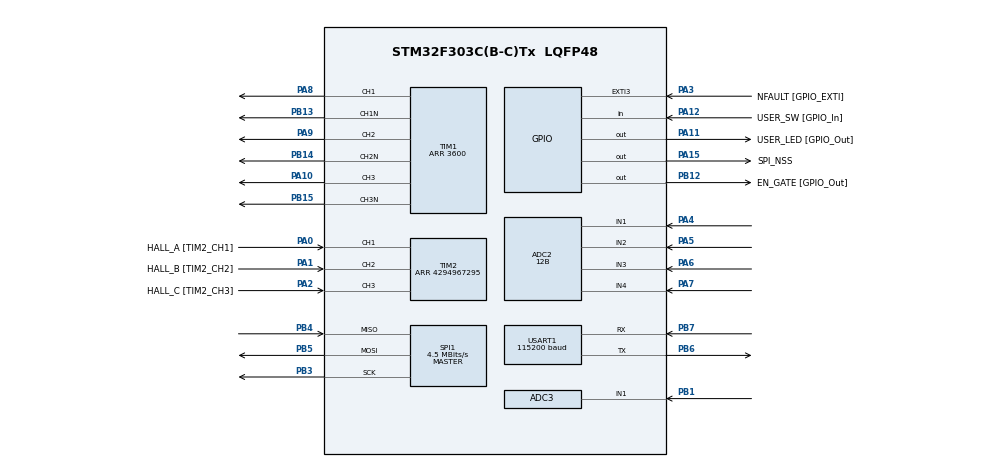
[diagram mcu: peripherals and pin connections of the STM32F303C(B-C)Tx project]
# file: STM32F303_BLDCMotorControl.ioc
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ADC2.ClockPrescaler=ADC_CLOCK_SYNC_PCLK_DIV1
ADC2.ContinuousConvMode=DISABLE
ADC2.DMAContinuousRequests=DISABLE
ADC2.DataAlign=ADC_DATAALIGN_RIGHT
ADC2.DiscontinuousConvMode=DISABLE
ADC2.EOCSelection=ADC_EOC_SEQ_CONV
ADC2.EnableAnalogWatchDog1=false
ADC2.EnableAnalogWatchDog2=false
ADC2.EnableAnalogWatchDog3=false
ADC2.EnableInjectedConversion=ENABLE
ADC2.EnableRegularConversion=DISABLE
ADC2.ExternalTrigInjecConv=ADC_EXTERNALTRIGINJECCONV_T1_TRGO2
ADC2.ExternalTrigInjecConvEdge=ADC_EXTERNALTRIGINJECCONV_EDGE_RISING
ADC2.InjNumberOfConversion=4
ADC2.InjectedChannel-1\#ChannelInjectedConversion=ADC_CHANNEL_1
ADC2.InjectedChannel-2\#ChannelInjectedConversion=ADC_CHANNEL_2
ADC2.InjectedChannel-3\#ChannelInjectedConversion=ADC_CHANNEL_3
ADC2.InjectedChannel-6\#ChannelInjectedConversion=ADC_CHANNEL_4
ADC2.InjectedConvMode=None
ADC2.InjectedOffset-1\#ChannelInjectedConversion=0
ADC2.InjectedOffset-2\#ChannelInjectedConversion=0
ADC2.InjectedOffset-3\#ChannelInjectedConversion=0
ADC2.InjectedOffset-6\#ChannelInjectedConversion=0
ADC2.InjectedOffsetNumber-1\#ChannelInjectedConversion=ADC_OFFSET_NONE
ADC2.InjectedOffsetNumber-2\#ChannelInjectedConversion=ADC_OFFSET_NONE
ADC2.InjectedOffsetNumber-3\#ChannelInjectedConversion=ADC_OFFSET_NONE
ADC2.InjectedOffsetNumber-6\#ChannelInjectedConversion=ADC_OFFSET_NONE
ADC2.InjectedRank-1\#ChannelInjectedConversion=1
ADC2.InjectedRank-2\#ChannelInjectedConversion=2
ADC2.InjectedRank-3\#ChannelInjectedConversion=3
ADC2.InjectedRank-6\#ChannelInjectedConversion=4
ADC2.InjectedSamplingTime-1\#ChannelInjectedConversion=ADC_SAMPLETIME_7CYCLES_5
ADC2.InjectedSamplingTime-2\#ChannelInjectedConversion=ADC_SAMPLETIME_7CYCLES_5
ADC2.InjectedSamplingTime-3\#ChannelInjectedConversion=ADC_SAMPLETIME_7CYCLES_5
ADC2.InjectedSamplingTime-6\#ChannelInjectedConversion=ADC_SAMPLETIME_7CYCLES_5
ADC2.LowPowerAutoWait=DISABLE
ADC2.Overrun=ADC_OVR_DATA_OVERWRITTEN
ADC2.QueueInjectedContext=DISABLE
ADC2.Resolution=ADC_RESOLUTION_12B
ADC2.ScanConvMode=ADC_SCAN_ENABLE
ADC3.Channel-0\#ChannelRegularConversion=ADC_CHANNEL_1
ADC3.ClockPrescaler=ADC_CLOCK_ASYNC_DIV1
ADC3.ContinuousConvMode=DISABLE
ADC3.DMAContinuousRequests=DISABLE
ADC3.DataAlign=ADC_DATAALIGN_RIGHT
ADC3.DiscontinuousConvMode=DISABLE
ADC3.EOCSelection=ADC_EOC_SEQ_CONV
ADC3.EnableAnalogWatchDog1=false
ADC3.EnableAnalogWatchDog2=false
ADC3.EnableAnalogWatchDog3=false
ADC3.EnableInjectedConversion=DISABLE
ADC3.EnableRegularConversion=ENABLE
ADC3.ExternalTrigConv=ADC_SOFTWARE_START
ADC3.ExternalTrigConvEdge=ADC_EXTERNALTRIGCONVEDGE_NONE
ADC3.LowPowerAutoWait=DISABLE
ADC3.NbrOfConversion=1
ADC3.NbrOfConversionFlag=1
ADC3.Offset-0\#ChannelRegularConversion=0
ADC3.OffsetNumber-0\#ChannelRegularConversion=ADC_OFFSET_NONE
ADC3.Overrun=ADC_OVR_DATA_OVERWRITTEN
ADC3.Rank-0\#ChannelRegularConversion=1
ADC3.Resolution=ADC_RESOLUTION_12B
ADC3.SamplingTime-0\#ChannelRegularConversion=ADC_SAMPLETIME_7CYCLES_5
ADC3.ScanConvMode=ADC_SCAN_DISABLE
ADC3.master=1
Mcu.Family=STM32F3
Mcu.Name=STM32F303C(B-C)Tx
Mcu.Package=LQFP48
NVIC.ADC1_2_IRQn=true\:0\:0\:false\:false\:true\:true\:true
NVIC.ADC3_IRQn=true\:2\:0\:true\:false\:true\:true\:true
NVIC.EXTI3_IRQn=true\:4\:0\:true\:false\:true\:true\:true
NVIC.PriorityGroup=NVIC_PRIORITYGROUP_4
NVIC.TIM1_UP_TIM16_IRQn=true\:1\:0\:true\:false\:true\:true\:true
NVIC.TIM2_IRQn=true\:3\:0\:true\:false\:true\:true\:true
PA0.GPIO_Label=HALL_A [TIM2_CH1]
PA0.Signal=S_TIM2_CH1_ETR
PA1.GPIO_Label=HALL_B [TIM2_CH2]
PA1.Signal=S_TIM2_CH2
PA10.GPIO_Speed=GPIO_SPEED_FREQ_HIGH
PA10.Signal=S_TIM1_CH3
PA11.GPIO_Label=USER_LED [GPIO_Out]
PA11.Signal=GPIO_Output
PA12.GPIO_Label=USER_SW [GPIO_In]
PA12.Signal=GPIO_Input
PA13.Mode=Serial_Wire
PA13.Signal=SYS_JTMS-SWDIO
PA14.Mode=Serial_Wire
PA14.Signal=SYS_JTCK-SWCLK
PA15.GPIO_Label=SPI_NSS
PA15.Signal=GPIO_Output
PA2.GPIO_Label=HALL_C [TIM2_CH3]
PA2.Signal=S_TIM2_CH3
PA3.GPIO_Label=NFAULT [GPIO_EXTI]
PA3.GPIO_ModeDefaultEXTI=GPIO_MODE_IT_FALLING
PA3.Signal=GPXTI3
PA4.Mode=IN1-Single-Ended
PA4.Signal=ADC2_IN1
PA5.Mode=IN2-Single-Ended
PA5.Signal=ADC2_IN2
PA6.Mode=IN3-Single-Ended
PA6.Signal=ADC2_IN3
PA7.Mode=IN4-Single-Ended
PA7.Signal=ADC2_IN4
PA8.GPIO_Speed=GPIO_SPEED_FREQ_HIGH
PA8.Signal=S_TIM1_CH1
PA9.GPIO_Speed=GPIO_SPEED_FREQ_HIGH
PA9.Signal=S_TIM1_CH2
PB1.Mode=IN1-Single-Ended
PB1.Signal=ADC3_IN1
PB12.GPIO_Label=EN_GATE [GPIO_Out]
PB12.GPIO_Speed=GPIO_SPEED_FREQ_HIGH
PB12.Signal=GPIO_Output
PB13.GPIO_Speed=GPIO_SPEED_FREQ_HIGH
PB13.Mode=PWM Generation1 CH1 CH1N
PB13.Signal=TIM1_CH1N
PB14.GPIO_Speed=GPIO_SPEED_FREQ_HIGH
PB14.Mode=PWM Generation2 CH2 CH2N
PB14.Signal=TIM1_CH2N
PB15.GPIO_Speed=GPIO_SPEED_FREQ_HIGH
PB15.Mode=PWM Generation3 CH3 CH3N
PB15.Signal=TIM1_CH3N
PB3.Mode=Full_Duplex_Master
PB3.Signal=SPI1_SCK
PB4.Mode=Full_Duplex_Master
PB4.Signal=SPI1_MISO
PB5.Mode=Full_Duplex_Master
PB5.Signal=SPI1_MOSI
PB6.Mode=Asynchronous
PB6.Signal=USART1_TX
PB7.Mode=Asynchronous
PB7.Signal=USART1_RX
PB8.Signal=CAN_RX
PB9.Signal=CAN_TX
PF0-OSC_IN.Mode=HSE-External-Oscillator
PF0-OSC_IN.Signal=RCC_OSC_IN
PF1-OSC_OUT.Mode=HSE-External-Oscillator
PF1-OSC_OUT.Signal=RCC_OSC_OUT
ProjectManager.HeapSize=0x200
ProjectManager.StackSize=0x400
ProjectManager.TargetToolchain=SW4STM32
RCC.AHBFreq_Value=72000000
RCC.APB1CLKDivider=RCC_HCLK_DIV2
RCC.APB1Freq_Value=36000000
RCC.APB1TimFreq_Value=72000000
RCC.APB2Freq_Value=72000000
RCC.APB2TimFreq_Value=72000000
RCC.CortexFreq_Value=72000000
RCC.HCLKFreq_Value=72000000
RCC.HSE_VALUE=8000000
RCC.HSI_VALUE=8000000
RCC.LSE_VALUE=32768
RCC.PLLMUL=RCC_PLL_MUL9
RCC.PLLSourceVirtual=RCC_PLLSOURCE_HSE
RCC.SYSCLKFreq_VALUE=72000000
RCC.SYSCLKSourceVirtual=RCC_SYSCLKSOURCE_PLLCLK
RCC.TIM1Selection=RCC_TIM1CLK_PLLCLK
RCC.USBFreq_Value=72000000
SH.S_TIM1_CH1.0=TIM1_CH1,PWM Generation1 CH1 CH1N
SH.S_TIM1_CH2.0=TIM1_CH2,PWM Generation2 CH2 CH2N
SH.S_TIM1_CH3.0=TIM1_CH3,PWM Generation3 CH3 CH3N
SH.S_TIM2_CH1_ETR.0=TIM2_CH1,Xored_Inputs_Hall_Sensor_Interface
SH.S_TIM2_CH2.0=TIM2_CH2,Xored_Inputs_Hall_Sensor_Interface
SH.S_TIM2_CH3.0=TIM2_CH3,Xored_Inputs_Hall_Sensor_Interface
SPI1.BaudRatePrescaler=SPI_BAUDRATEPRESCALER_16
SPI1.CLKPhase=SPI_PHASE_2EDGE
SPI1.CLKPolarity=SPI_POLARITY_LOW
SPI1.CalculateBaudRate=4.5 MBits/s
SPI1.DataSize=SPI_DATASIZE_16BIT
SPI1.Direction=SPI_DIRECTION_2LINES
SPI1.Mode=SPI_MODE_MASTER
SPI1.VirtualType=VM_MASTER
TIM1.Channel-PWM\ Generation1\ CH1\ CH1N=TIM_CHANNEL_1
TIM1.Channel-PWM\ Generation2\ CH2\ CH2N=TIM_CHANNEL_2
TIM1.Channel-PWM\ Generation3\ CH3\ CH3N=TIM_CHANNEL_3
TIM1.Channel-PWM\ Generation4\ No\ Output=TIM_CHANNEL_4
TIM1.CounterMode=TIM_COUNTERMODE_CENTERALIGNED1
TIM1.DeadTime=72
TIM1.Period=3600
TIM1.Pulse-PWM\ Generation4\ No\ Output=3599
TIM1.RepetitionCounter=0
TIM1.TIM_MasterOutputTrigger=TIM_TRGO_UPDATE
TIM1.TIM_MasterOutputTrigger2=TIM_TRGO2_OC4REF
TIM2.Period=4294967295
TIM6.Period=65535
TIM6.Prescaler=71
USART1.BaudRate=115200
USART1.VirtualMode-Asynchronous=VM_ASYNC
VP_TIM1_VS_ClockSourceINT.Mode=Internal
VP_TIM1_VS_no_output4.Mode=PWM Generation4 No Output
VP_TIM6_VS_ClockSourceINT.Mode=Enable_Timer
board=stm32f303cc_bldc_foc

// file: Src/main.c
/* USER CODE BEGIN Header */
/**
  ******************************************************************************
  * @file           : main.c
  * @brief          : Main program body
  ******************************************************************************
  * @attention
  *
  * <h2><center>&copy; Copyright (c) 2019 STMicroelectronics.
  * All rights reserved.</center></h2>
  *
  * This software component is licensed by ST under BSD 3-Clause license,
  * the "License"; You may not use this file except in compliance with the
  * License. You may obtain a copy of the License at:
  *                        opensource.org/licenses/BSD-3-Clause
  *
  ******************************************************************************
  */
/* USER CODE END Header */

#include "main.h"
#include "adc.h"
#include "spi.h"
#include "tim.h"
#include "usart.h"
#include "gpio.h"

void SystemClock_Config(void);

int main(void)
{

  /* MCU Configuration--------------------------------------------------------*/

  /* Reset of all peripherals, Initializes the Flash interface and the Systick. */

  LL_APB2_GRP1_EnableClock(LL_APB2_GRP1_PERIPH_SYSCFG);
  LL_APB1_GRP1_EnableClock(LL_APB1_GRP1_PERIPH_PWR);

  NVIC_SetPriorityGrouping(NVIC_PRIORITYGROUP_4);

  /* System interrupt init*/

  /* USER CODE BEGIN Init */

  // xprintf allocation
  xdev_out(uart1_putc);
  xdev_in(uart1_getc);

  /* USER CODE END Init */

  /* Configure the system clock */
  SystemClock_Config();

  /* Initialize all configured peripherals */
  MX_GPIO_Init();
  MX_ADC2_Init();
  MX_ADC3_Init();
  MX_SPI1_Init();
  MX_TIM1_Init();
  MX_TIM2_Init();
  MX_TIM6_Init();
  MX_USART1_UART_Init();
  /* USER CODE BEGIN 2 */

  while (LL_GPIO_IsInputPinSet(USER_SW_GPIO_Port,USER_SW_Pin));
  xprintf("Hello world!\n");

  // controller initialization
  period = LL_TIM_GetAutoReload(TIM1);

  // ADC2 Initialization
  WRITE_REG(ADC2->DIFSEL,0U); // LL_ADC_SetChannelSingleDiffが未定義動作を起こすので、レジスタに直接書き込む
  LL_ADC_EnableInternalRegulator(ADC2);
  delay_us(10);
  LL_ADC_StartCalibration(ADC2, LL_ADC_SINGLE_ENDED);
  while (LL_ADC_IsCalibrationOnGoing(ADC2));
  LL_ADC_Enable(ADC2);
  while (!LL_ADC_IsActiveFlag_ADRDY(ADC2));
  // JSQRをクリア
  LL_ADC_INJ_StopConversion(ADC2);
  while (LL_ADC_INJ_IsStopConversionOngoing(ADC2));
  // CubeMXが出力するコードが不適切なため、ADC2のJSQRを改めて設定する
  LL_ADC_DisableIT_JQOVF(ADC2);
  LL_ADC_INJ_ConfigQueueContext(ADC2,
                                LL_ADC_INJ_TRIG_EXT_TIM1_TRGO2,
                                LL_ADC_INJ_TRIG_EXT_RISING,
                                LL_ADC_INJ_SEQ_SCAN_ENABLE_4RANKS,
                                LL_ADC_CHANNEL_1,
                                LL_ADC_CHANNEL_2,
                                LL_ADC_CHANNEL_3,
                                LL_ADC_CHANNEL_4);
  // Inject変換の外部トリガを許可
  LL_ADC_INJ_StartConversion(ADC2);

  // Enable ADC Interrupt
  LL_ADC_EnableIT_JEOS(ADC2);
//  LL_TIM_EnableIT_UPDATE(TIM1);

  // Set ADC Sampling Timing
  LL_TIM_OC_SetCompareCH4(TIM1, (uint32_t)(3599 - 90));

  // Enable PWM Career
  LL_TIM_EnableCounter(TIM1);
  LL_TIM_SetRepetitionCounter(TIM1,1);

  // Enable PWM Channels
  LL_TIM_CC_EnableChannel(TIM1, LL_TIM_CHANNEL_CH1);
  LL_TIM_CC_EnableChannel(TIM1, LL_TIM_CHANNEL_CH1N);
  LL_TIM_CC_EnableChannel(TIM1, LL_TIM_CHANNEL_CH2);
  LL_TIM_CC_EnableChannel(TIM1, LL_TIM_CHANNEL_CH2N);
  LL_TIM_CC_EnableChannel(TIM1, LL_TIM_CHANNEL_CH3);
  LL_TIM_CC_EnableChannel(TIM1, LL_TIM_CHANNEL_CH3N);

  // Enable SPI Channel
  LL_SPI_Enable(SPI1);

  // Enable EXTI Interrupt
  LL_EXTI_EnableIT_0_31(LL_EXTI_LINE_3);

  /* USER CODE END 2 */

  /* Infinite loop */
  while (1)
  {

    /* USER CODE BEGIN 3 */
    FOC_LowFreqTask();
  }
  /* USER CODE END 3 */
}

void SystemClock_Config(void)
{
  LL_FLASH_SetLatency(LL_FLASH_LATENCY_2);

   if(LL_FLASH_GetLatency() != LL_FLASH_LATENCY_2)
  {
  Error_Handler();
  }
  LL_RCC_HSE_Enable();

   /* Wait till HSE is ready */
  while(LL_RCC_HSE_IsReady() != 1)
  {

  }
  LL_RCC_PLL_ConfigDomain_SYS(LL_RCC_PLLSOURCE_HSE_DIV_1, LL_RCC_PLL_MUL_9);
  LL_RCC_PLL_Enable();

   /* Wait till PLL is ready */
  while(LL_RCC_PLL_IsReady() != 1)
  {

  }
  LL_RCC_SetAHBPrescaler(LL_RCC_SYSCLK_DIV_1);
  LL_RCC_SetAPB1Prescaler(LL_RCC_APB1_DIV_2);
  LL_RCC_SetAPB2Prescaler(LL_RCC_APB1_DIV_1);
  LL_RCC_SetSysClkSource(LL_RCC_SYS_CLKSOURCE_PLL);

   /* Wait till System clock is ready */
  while(LL_RCC_GetSysClkSource() != LL_RCC_SYS_CLKSOURCE_STATUS_PLL)
  {

  }
  LL_Init1msTick(72000000);
  LL_SYSTICK_SetClkSource(LL_SYSTICK_CLKSOURCE_HCLK);
  LL_SetSystemCoreClock(72000000);
  LL_RCC_SetUSARTClockSource(LL_RCC_USART1_CLKSOURCE_PCLK2);
  LL_RCC_SetTIMClockSource(LL_RCC_TIM1_CLKSOURCE_PLL);
  LL_RCC_SetADCClockSource(LL_RCC_ADC34_CLKSRC_PLL_DIV_1);
}

void Error_Handler(void)
{
}

/************************ (C) COPYRIGHT STMicroelectronics *****END OF FILE****/
